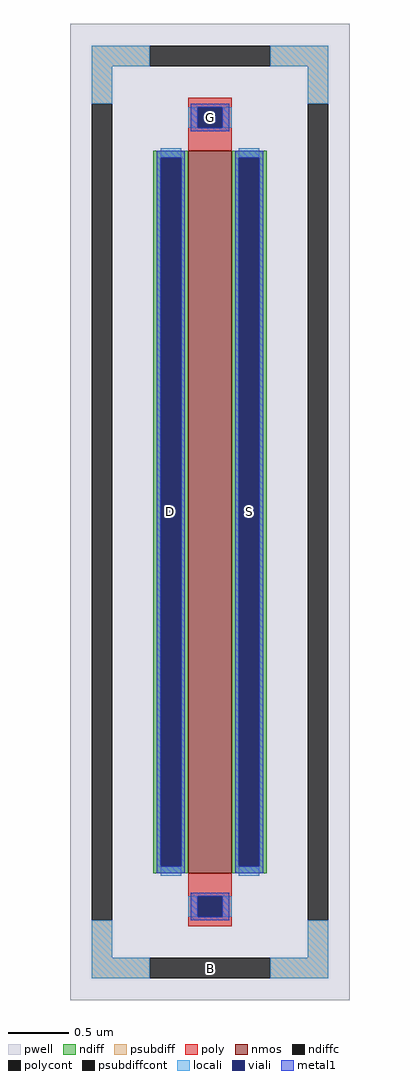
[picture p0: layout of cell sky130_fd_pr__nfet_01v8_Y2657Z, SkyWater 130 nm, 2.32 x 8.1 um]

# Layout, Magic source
magic
tech sky130A
magscale 1 2
<< pwell >>
rect -232 -810 232 810
<< nmos >>
rect -36 -600 36 600
<< ndiff >>
rect -94 588 -36 600
rect -94 -588 -82 588
rect -48 -588 -36 588
rect -94 -600 -36 -588
rect 36 588 94 600
rect 36 -588 48 588
rect 82 -588 94 588
rect 36 -600 94 -588
<< ndiffc >>
rect -82 -588 -48 588
rect 48 -588 82 588
<< psubdiff >>
rect -196 740 -100 774
rect 100 740 196 774
rect -196 678 -162 740
rect 162 678 196 740
rect -196 -740 -162 -678
rect 162 -740 196 -678
rect -196 -774 -100 -740
rect 100 -774 196 -740
<< psubdiffcont >>
rect -100 740 100 774
rect -196 -678 -162 678
rect 162 -678 196 678
rect -100 -774 100 -740
<< poly >>
rect -36 672 36 688
rect -36 638 -20 672
rect 20 638 36 672
rect -36 600 36 638
rect -36 -638 36 -600
rect -36 -672 -20 -638
rect 20 -672 36 -638
rect -36 -688 36 -672
<< polycont >>
rect -20 638 20 672
rect -20 -672 20 -638
<< locali >>
rect -196 740 -100 774
rect 100 740 196 774
rect -196 678 -162 740
rect 162 678 196 740
rect -36 638 -20 672
rect 20 638 36 672
rect -82 588 -48 604
rect -82 -604 -48 -588
rect 48 588 82 604
rect 48 -604 82 -588
rect -36 -672 -20 -638
rect 20 -672 36 -638
rect -196 -740 -162 -678
rect 162 -740 196 -678
rect -196 -774 -100 -740
rect 100 -774 196 -740
<< viali >>
rect -20 638 20 672
rect -82 -588 -48 588
rect 48 -588 82 588
rect -20 -672 20 -638
<< metal1 >>
rect -32 672 32 678
rect -32 638 -20 672
rect 20 638 32 672
rect -32 632 32 638
rect -88 588 -42 600
rect -88 -588 -82 588
rect -48 -588 -42 588
rect -88 -600 -42 -588
rect 42 588 88 600
rect 42 -588 48 588
rect 82 -588 88 588
rect 42 -600 88 -588
rect -32 -638 32 -632
rect -32 -672 -20 -638
rect 20 -672 32 -638
rect -32 -678 32 -672
<< labels >>
rlabel psubdiffcont 0 -757 0 -757 0 B
port 1 nsew
rlabel ndiffc -65 0 -65 0 0 D
port 2 nsew
rlabel ndiffc 65 0 65 0 0 S
port 3 nsew
rlabel polycont 0 655 0 655 0 G
port 4 nsew
<< properties >>
string FIXED_BBOX -179 -757 179 757
string gencell sky130_fd_pr__nfet_01v8
string library sky130
string parameters w 6 l 0.36 m 1 nf 1 diffcov 100 polycov 100 guard 1 glc 1 grc 1 gtc 1 gbc 1 tbcov 100 rlcov 100 topc 1 botc 1 poverlap 0 doverlap 1 lmin 0.15 wmin 0.42 class mosfet compatible {sky130_fd_pr__nfet_01v8 sky130_fd_pr__nfet_01v8_lvt  sky130_fd_bs_flash__special_sonosfet_star  sky130_fd_pr__nfet_g5v0d10v5 sky130_fd_pr__nfet_05v0_nvt  sky130_fd_pr__nfet_03v3_nvt} full_metal 1 conn_gates 0 viasrc 100 viadrn 100 viagate 100 viagb 0 viagr 0 viagl 0 viagt 0 doports 1
<< end >>
